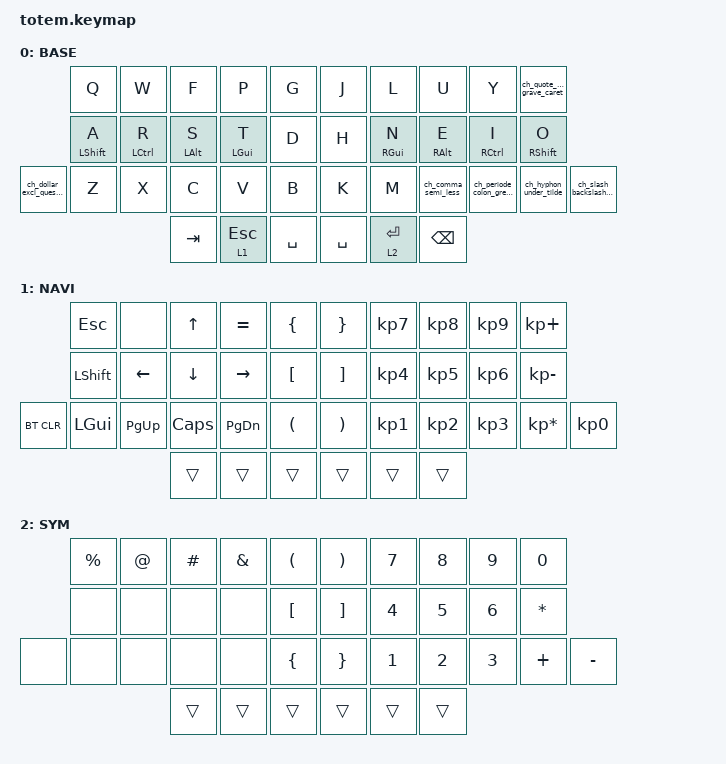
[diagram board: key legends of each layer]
//
//                                                        ▀▀▀▀▀     ▀▀▀▀▀          ▀▀█▀▀
//                                                        ▄▀▀▀▄  ▄  ▄▀▀▀▄  ▄  ▄▀▀▀▄  █  ▄▀▀▀▄
//                                                        █   █  █  █   █  █  █   █  █  █   █
//                                                         ▀▀▀   █   ▀▀▀   █   ▀▀▀   ▀   ▀▀▀
//                                                               █      ▄▄▄█▄▄▄    █   █  
//                                                               ▀      █  █  █     █▄█
//                                                             ▀▀▀▀▀    █  █  █      ▀
//                                                                      ▀  ▀  ▀
//
// ▄▄▄▄▄▄▄▄▄▄▄▄▄▄▄▄▄▄▄▄▄▄▄▄▄▄▄▄▄▄▄▄▄▄▄▄▄▄▄▄▄▄▄▄▄▄▄▄▄▄▄▄▄▄▄▄▄▄▄▄▄▄▄▄▄▄▄▄▄▄▄▄▄▄▄▄▄▄▄▄▄▄▄▄▄▄▄▄▄▄▄▄▄▄▄▄▄▄▄▄▄▄▄▄▄▄▄▄▄▄▄▄▄▄▄▄▄▄▄▄▄▄▄▄▄▄▄▄▄▄▄▄▄▄▄▄▄▄▄▄▄▄▄▄▄▄▄▄▄

#include <behaviors.dtsi>
#include <dt-bindings/zmk/bt.h>
#include <dt-bindings/zmk/keys.h>

#define BASE 0
#define NAV  1
#define SYM  2
#define ADJ  3
#define TVP1 4
#define TVP2 5

&mt {
    quick-tap-ms = <100>;
    global-quick-tap;
    flavor = "tap-preferred";
    tapping-term-ms = <170>;
};

/ {
    combos {
        compatible = "zmk,combos";

        combo_esc {
            timeout-ms = <50>;
            key-positions = <0 1>;
            bindings = <&kp ESC>;
        };

        combo_tvp {
            timeout-ms = <100>;
            key-positions = <11 12 13>;
            bindings = <&tog 0>;
        };
    };

    macros {
        gif: gif {
            label = "giphy";
            compatible = "zmk,behavior-macro";
            #binding-cells = <0>;
            bindings =
                <&macro_press>,
                <&kp LSHFT>,
                <&macro_tap>,
                <&kp N2>,
                <&macro_release>,
                <&kp LSHFT>,
                <&macro_tap>,
                <&kp G &kp I &kp F>;
        };
    };

    behaviors {
        home_l: home_l {
            compatible = "zmk,behavior-hold-tap";
            label = "HOME_L";
            bindings = <&kp>, <&kp>;

            #binding-cells = <2>;
            tapping-term-ms = <200>;
            hold-trigger-key-positions = <6 5 15 26 35 36 37 27 16 7 17 28 8 18 29 9 19 30 31>;
        };

        home_r: home_r {
            compatible = "zmk,behavior-hold-tap";
            label = "HOME_R";
            bindings = <&kp>, <&kp>;

            #binding-cells = <2>;
            tapping-term-ms = <200>;
            hold-trigger-key-positions = <4 14 25 34 33 32 24 13 3 2 23 12 1 11 22 0 10 21 20>;
        };

        ch_comma_semi: ch_comma_semi {
            compatible = "zmk,behavior-mod-morph";
            label = "CH_COMMA_SEMI";
            bindings = <&kp COMMA>, <&kp SEMI>;

            #binding-cells = <0>;
            mods = <(MOD_RSFT|MOD_LSFT)>;
        };

        ch_comma_semi_less: ch_comma_semi_less {
            compatible = "zmk,behavior-mod-morph";
            label = "CH_COMMA_SEMI_LESS";
            bindings = <&ch_comma_semi>, <&kp LESS_THAN>;

            #binding-cells = <0>;
            mods = <(MOD_RALT|MOD_LALT)>;
        };

        ch_periode_colon: ch_periode_colon {
            compatible = "zmk,behavior-mod-morph";
            label = "CH_PERIODE_COLON";
            bindings = <&kp PERIOD>, <&kp COLON>;

            #binding-cells = <0>;
            mods = <(MOD_LSFT|MOD_RSFT)>;
        };

        ch_periode_colon_greater: ch_periode_colon_greater {
            compatible = "zmk,behavior-mod-morph";
            label = "CH_PERIODE_COLON_GREATER";
            bindings = <&ch_periode_colon>, <&kp GREATER_THAN>;

            #binding-cells = <0>;
            mods = <(MOD_LALT|MOD_RALT)>;
        };

        ch_hyphon_under: ch_hyphon_under {
            compatible = "zmk,behavior-mod-morph";
            label = "CH_HYPHON_UNDER";
            bindings = <&kp MINUS>, <&kp UNDERSCORE>;

            #binding-cells = <0>;
            mods = <(MOD_LSFT|MOD_RSFT)>;
        };

        ch_hyphon_under_tilde: ch_hyphon_under_tilde {
            compatible = "zmk,behavior-mod-morph";
            label = "CH_HYPHON_UNDER_TILDE";
            bindings = <&ch_hyphon_under>, <&kp TILDE>;

            #binding-cells = <0>;
            mods = <(MOD_RALT|MOD_LALT)>;
        };

        ch_slash_backslash: ch_slash_backslash {
            compatible = "zmk,behavior-mod-morph";
            label = "CH_SLASH_BACKSLASH";
            bindings = <&kp SLASH>, <&kp BACKSLASH>;

            #binding-cells = <0>;
            mods = <(MOD_LSFT|MOD_RSFT)>;
        };

        ch_slash_backslash_pipe: ch_slash_backslash_pipe {
            compatible = "zmk,behavior-mod-morph";
            label = "CH_SLASH_BACKSLASH_PIPE";
            bindings = <&ch_slash_backslash>, <&kp PIPE>;

            #binding-cells = <0>;
            mods = <(MOD_LALT|MOD_RALT)>;
        };

        ch_quote_dquote: ch_quote_dquote {
            compatible = "zmk,behavior-mod-morph";
            label = "CH_QUOTE_DQUOTE";
            bindings = <&kp SINGLE_QUOTE>, <&kp DOUBLE_QUOTES>;

            #binding-cells = <0>;
            mods = <(MOD_LSFT|MOD_RSFT)>;
        };

        ch_quote_dquote_grave: ch_quote_dquote_grave {
            compatible = "zmk,behavior-mod-morph";
            label = "CH_QUOTE_DQUOTE_GRAVE";
            bindings = <&ch_quote_dquote>, <&kp GRAVE>;

            #binding-cells = <0>;
            mods = <(MOD_LALT|MOD_RALT)>;
        };

        ch_quote_dquote_grave_caret: ch_quote_dquote_grave_caret {
            compatible = "zmk,behavior-mod-morph";
            label = "CH_QUOTE_DQUOTE_GRAVE_CARET";
            bindings = <&ch_quote_dquote_grave>, <&kp CARET>;

            #binding-cells = <0>;
            mods = <(MOD_LCTL|MOD_RCTL)>;
        };

        ch_dollar_excl: ch_dollar_excl {
            compatible = "zmk,behavior-mod-morph";
            label = "CH_DOLLAR_EXCL";
            bindings = <&kp DOLLAR>, <&kp EXCLAMATION>;

            #binding-cells = <0>;
            mods = <(MOD_LSFT|MOD_RSFT)>;
        };

        ch_dollar_excl_question: ch_dollar_excl_question {
            compatible = "zmk,behavior-mod-morph";
            label = "CH_DOLLAR_EXCL_QUESTION";
            bindings = <&ch_dollar_excl>, <&kp QUESTION>;

            #binding-cells = <0>;
            mods = <(MOD_LALT|MOD_RALT)>;
        };
    };

    keymap {
        compatible = "zmk,keymap";

        // ▄▄▄▄▄▄▄▄▄▄▄▄▄▄▄▄▄▄▄▄▄▄▄▄▄▄▄▄▄▄▄▄▄▄▄▄▄▄▄▄▄▄▄▄▄▄▄▄▄▄▄▄▄▄▄▄▄▄▄▄▄▄▄▄▄▄▄▄▄▄▄▄▄▄▄▄▄▄▄▄▄▄▄▄▄▄▄▄▄▄▄▄▄▄▄▄▄▄▄▄▄▄▄▄▄▄▄▄▄▄▄▄▄▄▄▄▄▄▄▄▄▄▄▄▄▄▄▄▄▄▄▄▄▄▄▄▄▄▄▄▄▄▄▄▄▄▄▄▄

        base_layer {
            // ┏━━━━━━━━━━━━━━━━━━━━━━━━━━━━━━━━━━━━━━━┓

            label = "BASE";

            // ┗━━━━━━━━━━━━━━━━━━━━━━━━━━━━━━━━━━━━━━━┛
            //             ┏━━━━━━━━━━━┳━━━━━━━━━━━┳━━━━━━━━━━━┳━━━━━━━━━━━┳━━━━━━━━━━━┓   ┏━━━━━━━━━━━┳━━━━━━━━━━━┳━━━━━━━━━━━┳━━━━━━━━━━━┳━━━━━━━━━━━┓
            //             ┃     Q     ┃     W     ┃     F     ┃     P     ┃     G     ┃   ┃     J     ┃     L     ┃     U     ┃     Y     ┃     ;     ┃
            //             ┣━━━━━━━━━━━╋━━━━━━━━━━━╋━━━━━━━━━━━╋━━━━━━━━━━━╋━━━━━━━━━━━┫   ┣━━━━━━━━━━━╋━━━━━━━━━━━╋━━━━━━━━━━━╋━━━━━━━━━━━╋━━━━━━━━━━━┫
            //             ┃     A     ┃     R     ┃     S     ┃     T     ┃     D     ┃   ┃     H     ┃     N     ┃     E     ┃     I     ┃     O     ┃
            // ┏━━━━━━━━━━━╋━━━━━━━━━━━╋━━━━━━━━━━━╋━━━━━━━━━━━╋━━━━━━━━━━━╋━━━━━━━━━━━┫   ┣━━━━━━━━━━━╋━━━━━━━━━━━╋━━━━━━━━━━━╋━━━━━━━━━━━╋━━━━━━━━━━━╋━━━━━━━━━━━┓
            // ┃     Q     ┃     Z     ┃     X     ┃     C     ┃     V     ┃     B     ┃   ┃     K     ┃     M     ┃     ,     ┃     .     ┃     /     ┃     \     ┃
            // ┗━━━━━━━━━━━┻━━━━━━━━━━━┻━━━━━━━━━━━╋━━━━━━━━━━━╋━━━━━━━━━━━╋━━━━━━━━━━━┫   ┣━━━━━━━━━━━╋━━━━━━━━━━━╋━━━━━━━━━━━╋━━━━━━━━━━━┻━━━━━━━━━━━┻━━━━━━━━━━━┛
            //                                     ┃    DEL    ┃    TAB    ┃    SPC    ┃   ┃   ENTER   ┃           ┃   BSPC    ┃
            //                                     ┗━━━━━━━━━━━┻━━━━━━━━━━━┻━━━━━━━━━━━┛   ┗━━━━━━━━━━━┻━━━━━━━━━━━┻━━━━━━━━━━━┛

            bindings = <
                          &kp Q            &kp W            &kp F           &kp P           &kp G        &kp J      &kp L           &kp U                &kp Y                      &ch_quote_dquote_grave_caret
                          &home_l LSHFT A  &home_l LCTRL R  &home_l LALT S  &home_l LGUI T  &kp D        &kp H      &home_r RGUI N  &home_r RALT E       &home_r RCTRL I            &home_r RSHIFT O
&ch_dollar_excl_question  &kp Z            &kp X            &kp C           &kp V           &kp B        &kp K      &kp M           &ch_comma_semi_less  &ch_periode_colon_greater  &ch_hyphon_under_tilde        &ch_slash_backslash_pipe
                                                            &kp TAB         &lt 1 ESCAPE    &kp SPACE    &kp SPACE  &lt 2 ENTER     &kp BACKSPACE
            >;
        };

        // ▄▄▄▄▄▄▄▄▄▄▄▄▄▄▄▄▄▄▄▄▄▄▄▄▄▄▄▄▄▄▄▄▄▄▄▄▄▄▄▄▄▄▄▄▄▄▄▄▄▄▄▄▄▄▄▄▄▄▄▄▄▄▄▄▄▄▄▄▄▄▄▄▄▄▄▄▄▄▄▄▄▄▄▄▄▄▄▄▄▄▄▄▄▄▄▄▄▄▄▄▄▄▄▄▄▄▄▄▄▄▄▄▄▄▄▄▄▄▄▄▄▄▄▄▄▄▄▄▄▄▄▄▄▄▄▄▄▄▄▄▄▄▄▄▄▄▄▄▄

        nav_layer {
            // ┏━━━━━━━━━━━━━━━━━━━━━━━━━━━━━━━━━━━━━━━┓

            label = "NAVI";

            // ┗━━━━━━━━━━━━━━━━━━━━━━━━━━━━━━━━━━━━━━━┛
            //             ┏━━━━━━━━━━━┳━━━━━━━━━━━┳━━━━━━━━━━━┳━━━━━━━━━━━┳━━━━━━━━━━━┓   ┏━━━━━━━━━━━┳━━━━━━━━━━━┳━━━━━━━━━━━┳━━━━━━━━━━━┳━━━━━━━━━━━┓
            //             ┃           ┃           ┃     UP    ┃           ┃     {     ┃   ┃     }     ┃     7     ┃     8     ┃     9     ┃     +     ┃
            //             ┣━━━━━━━━━━━╋━━━━━━━━━━━╋━━━━━━━━━━━╋━━━━━━━━━━━╋━━━━━━━━━━━┫   ┣━━━━━━━━━━━╋━━━━━━━━━━━╋━━━━━━━━━━━╋━━━━━━━━━━━╋━━━━━━━━━━━┫
            //             ┃   SHIFT   ┃   LEFT    ┃    DOWN   ┃   RIGHT   ┃     [     ┃   ┃     ]     ┃     4     ┃     5     ┃     6     ┃     -     ┃
            // ┏━━━━━━━━━━━╋━━━━━━━━━━━╋━━━━━━━━━━━╋━━━━━━━━━━━╋━━━━━━━━━━━╋━━━━━━━━━━━┫   ┣━━━━━━━━━━━╋━━━━━━━━━━━╋━━━━━━━━━━━╋━━━━━━━━━━━╋━━━━━━━━━━━╋━━━━━━━━━━━┓
            // ┃           ┃           ┃   P UP    ┃  C LOCK   ┃  P DOWN   ┃     (     ┃   ┃     )     ┃     1     ┃     2     ┃     3     ┃     *     ┃           ┃
            // ┗━━━━━━━━━━━┻━━━━━━━━━━━┻━━━━━━━━━━━╋━━━━━━━━━━━╋━━━━━━━━━━━╋━━━━━━━━━━━┫   ┣━━━━━━━━━━━╋━━━━━━━━━━━╋━━━━━━━━━━━╋━━━━━━━━━━━┻━━━━━━━━━━━┻━━━━━━━━━━━┛
            //                                     ┃           ┃    TAB    ┃    SPC    ┃   ┃    DEL    ┃     0     ┃           ┃
            //                                     ┗━━━━━━━━━━━┻━━━━━━━━━━━┻━━━━━━━━━━━┛   ┗━━━━━━━━━━━┻━━━━━━━━━━━┻━━━━━━━━━━━┛

            bindings = <
            &kp ESC    &none      &kp UP    &kp EQUAL  &kp LBRC    &kp RBRC  &kp KP_N7  &kp KP_N8  &kp KP_N9  &kp KP_PLUS
            &kp LSHFT  &kp LEFT   &kp DOWN  &kp RIGHT  &kp LBKT    &kp RBKT  &kp KP_N4  &kp KP_N5  &kp KP_N6  &kp KP_MINUS
&bt BT_CLR  &kp LGUI   &kp PG_UP  &kp CAPS  &kp PG_DN  &kp LPAR    &kp RPAR  &kp KP_N1  &kp KP_N2  &kp KP_N3  &kp KP_MULTIPLY  &kp KP_NUMBER_0
                                  &trans    &trans     &trans      &trans    &trans     &trans
            >;
        };

        // ▄▄▄▄▄▄▄▄▄▄▄▄▄▄▄▄▄▄▄▄▄▄▄▄▄▄▄▄▄▄▄▄▄▄▄▄▄▄▄▄▄▄▄▄▄▄▄▄▄▄▄▄▄▄▄▄▄▄▄▄▄▄▄▄▄▄▄▄▄▄▄▄▄▄▄▄▄▄▄▄▄▄▄▄▄▄▄▄▄▄▄▄▄▄▄▄▄▄▄▄▄▄▄▄▄▄▄▄▄▄▄▄▄▄▄▄▄▄▄▄▄▄▄▄▄▄▄▄▄▄▄▄▄▄▄▄▄▄▄▄▄▄▄▄▄▄▄▄▄

        sim_layer {
            // ┏━━━━━━━━━━━━━━━━━━━━━━━━━━━━━━━━━━━━━━━┓

            label = "SYM";

            // ┗━━━━━━━━━━━━━━━━━━━━━━━━━━━━━━━━━━━━━━━┛
            //             ┏━━━━━━━━━━━┳━━━━━━━━━━━┳━━━━━━━━━━━┳━━━━━━━━━━━┳━━━━━━━━━━━┓   ┏━━━━━━━━━━━┳━━━━━━━━━━━┳━━━━━━━━━━━┳━━━━━━━━━━━┳━━━━━━━━━━━┓
            //             ┃     !     ┃     @     ┃     #     ┃     $     ┃     %     ┃   ┃     ˆ     ┃     &     ┃     Ü     ┃     '     ┃     "     ┃
            //             ┣━━━━━━━━━━━╋━━━━━━━━━━━╋━━━━━━━━━━━╋━━━━━━━━━━━╋━━━━━━━━━━━┫   ┣━━━━━━━━━━━╋━━━━━━━━━━━╋━━━━━━━━━━━╋━━━━━━━━━━━╋━━━━━━━━━━━┫
            //             ┃     Ä     ┃           ┃    SZ     ┃           ┃           ┃   ┃   MUTE    ┃   YEN     ┃   EURO    ┃  POUND    ┃     Ö     ┃
            // ┏━━━━━━━━━━━╋━━━━━━━━━━━╋━━━━━━━━━━━╋━━━━━━━━━━━╋━━━━━━━━━━━╋━━━━━━━━━━━┫   ┣━━━━━━━━━━━╋━━━━━━━━━━━╋━━━━━━━━━━━╋━━━━━━━━━━━╋━━━━━━━━━━━╋━━━━━━━━━━━┓
            // ┃           ┃  EMAIL1   ┃  EMAIL2   ┃           ┃           ┃           ┃   ┃   VOL-    ┃   VOL+    ┃   LAST    ┃   NEXT    ┃     \     ┃           ┃
            // ┗━━━━━━━━━━━┻━━━━━━━━━━━┻━━━━━━━━━━━╋━━━━━━━━━━━╋━━━━━━━━━━━╋━━━━━━━━━━━┫   ┣━━━━━━━━━━━╋━━━━━━━━━━━╋━━━━━━━━━━━╋━━━━━━━━━━━┻━━━━━━━━━━━┻━━━━━━━━━━━┛
            //                                     ┃           ┃    GIF    ┃    ADJ    ┃   ┃           ┃           ┃           ┃
            //                                     ┗━━━━━━━━━━━┻━━━━━━━━━━━┻━━━━━━━━━━━┛   ┗━━━━━━━━━━━┻━━━━━━━━━━━┻━━━━━━━━━━━┛

            bindings = <
       &kp PERCENT  &kp AT_SIGN  &kp HASH  &kp AMPERSAND  &kp LEFT_PARENTHESIS    &kp RIGHT_PARENTHESIS  &kp NUMBER_7  &kp NUMBER_8  &kp NUMBER_9  &kp N0
       &none        &none        &none     &none          &kp LEFT_BRACKET        &kp RIGHT_BRACKET      &kp NUMBER_4  &kp NUMBER_5  &kp NUMBER_6  &kp ASTERISK
&none  &none        &none        &none     &none          &kp LEFT_BRACE          &kp RIGHT_BRACE        &kp NUMBER_1  &kp NUMBER_2  &kp NUMBER_3  &kp PLUS      &kp MINUS
                                 &trans    &trans         &trans                  &trans                 &trans        &trans
            >;
        };

        // ▄▄▄▄▄▄▄▄▄▄▄▄▄▄▄▄▄▄▄▄▄▄▄▄▄▄▄▄▄▄▄▄▄▄▄▄▄▄▄▄▄▄▄▄▄▄▄▄▄▄▄▄▄▄▄▄▄▄▄▄▄▄▄▄▄▄▄▄▄▄▄▄▄▄▄▄▄▄▄▄▄▄▄▄▄▄▄▄▄▄▄▄▄▄▄▄▄▄▄▄▄▄▄▄▄▄▄▄▄▄▄▄▄▄▄▄▄▄▄▄▄▄▄▄▄▄▄▄▄▄▄▄▄▄▄▄▄▄▄▄▄▄▄▄▄▄▄▄▄
        // ▄▄▄▄▄▄▄▄▄▄▄▄▄▄▄▄▄▄▄▄▄▄▄▄▄▄▄▄▄▄▄▄▄▄▄▄▄▄▄▄▄▄▄▄▄▄▄▄▄▄▄▄▄▄▄▄▄▄▄▄▄▄▄▄▄▄▄▄▄▄▄▄▄▄▄▄▄▄▄▄▄▄▄▄▄▄▄▄▄▄▄▄▄▄▄▄▄▄▄▄▄▄▄▄▄▄▄▄▄▄▄▄▄▄▄▄▄▄▄▄▄▄▄▄▄▄▄▄▄▄▄▄▄▄▄▄▄▄▄▄▄▄▄▄▄▄▄▄▄
        // ▄▄▄▄▄▄▄▄▄▄▄▄▄▄▄▄▄▄▄▄▄▄▄▄▄▄▄▄▄▄▄▄▄▄▄▄▄▄▄▄▄▄▄▄▄▄▄▄▄▄▄▄▄▄▄▄▄▄▄▄▄▄▄▄▄▄▄▄▄▄▄▄▄▄▄▄▄▄▄▄▄▄▄▄▄▄▄▄▄▄▄▄▄▄▄▄▄▄▄▄▄▄▄▄▄▄▄▄▄▄▄▄▄▄▄▄▄▄▄▄▄▄▄▄▄▄▄▄▄▄▄▄▄▄▄▄▄▄▄▄▄▄▄▄▄▄▄▄▄
    };
};
